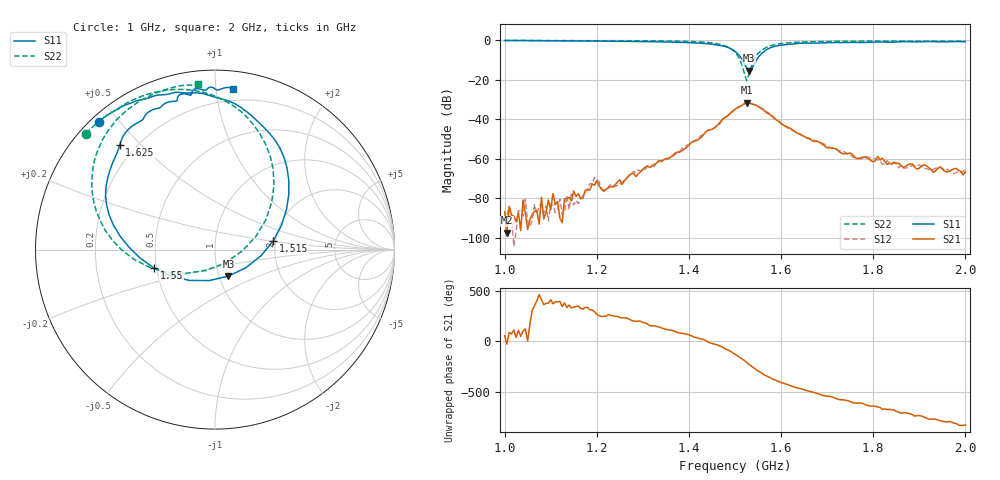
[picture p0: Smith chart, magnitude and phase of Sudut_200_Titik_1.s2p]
# Hz S RI R 50
! CMT, C1220, 16058040, 17.2.0/1
! Date: 14/08/2018 12:56:58
! Data: Format (Calibration Info)
! Freq  S11: Re/Im (F2)  S21: Re/Im (F2)  S12: Re/Im (F2)  S22: Re/Im (F2)
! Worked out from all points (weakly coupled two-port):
!   201 points, 1 GHz to 2 GHz, reference 50 ohm
!   highest |S21| = -31.68 dB at 1.525 GHz (marker M1); lowest = -97.3 dB at 1.005 GHz (marker M2)
!   lowest |S11| = -15.6 dB at 1.53 GHz (marker M3), VSWR 1.40, Z = 55.4 - j16.8 ohm
!   |S11| at or under -10 dB: 1.516 GHz to 1.547 GHz (31.53 MHz wide, 2.06 % of centre)
!   |S22| runs from -20.6 to -0.3 dB; largest |S21 - S12| = 0.001
!   S11 on the Smith chart (normalised r, x): 1 GHz: 0.02, +0.44; 1.515 GHz: 1.94, +0.20; 1.55 GHz: 0.48, -0.11; 1.625 GHz: 0.14, +0.43; 2 GHz: 0.12, +1.11
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1e9  -0.6475 0.7129  2.55e-05 3.85e-05  -2.44e-05 2.41e-06  -0.7191 0.6459
1.005e9  -0.6408 0.7176  1.22e-05 -6.14e-06  1.48e-05 3.37e-05  -0.7153 0.6496
1.14e9  -0.4923 0.8081  0.000106 -3.38e-06  5.19e-05 4.6e-06  -0.607 0.745
1.145e9  -0.4869 0.8098  7.51e-05 -4.29e-05  0.000138 2.84e-06  -0.6022 0.7482
1.15e9  -0.4816 0.8113  0.00014 -6.21e-05  6.13e-05 -3e-05  -0.5973 0.7519
1.17e9  -0.4589 0.8204  7.67e-05 -6.9e-05  0.00011 -3.03e-05  -0.5768 0.7656
1.195e9  -0.4215 0.8337  8.65e-05 -0.000196  0.000125 -0.000314  -0.5477 0.7776
1.2e9  -0.4144 0.8347  -7.13e-06 -0.00028  1.88e-05 -0.000291  -0.543 0.7776
1.215e9  -0.3939 0.8386  -5.67e-05 -0.00014  -5.35e-05 -0.000154  -0.5352 0.7859
1.335e9  -0.1839 0.8739  -0.000713 0.000535  -0.000616 0.000584  -0.36 0.87
1.45e9  0.197 0.7512  0.00517 -0.0019  0.0051 -0.00229  0.0472 0.8333
1.5e9  0.4114 0.309  -0.0103 -0.0144  -0.00968 -0.0136  0.3286 0.3594
1.515e9  0.3237 0.0467  -0.022 -0.00375  -0.0221 -0.00433  0.2272 0.0722
1.525e9  0.1728 -0.1002  -0.0235 0.0112  -0.0238 0.0112  0.0567 -0.0742
1.53e9  0.0749 -0.1478  -0.0179 0.018  -0.018 0.0181  -0.0517 -0.1165
1.55e9  -0.3402 -0.1025  0.00733 0.0195  0.00655 0.0197  -0.4487 -0.0558
1.58e9  -0.6041 0.2482  0.0118 -0.00139  0.0122 -0.00194  -0.6755 0.2648
1.625e9  -0.5307 0.5826  0.000598 -0.00535  0.000729 -0.00507  -0.6495 0.5615
1.67e9  -0.4146 0.7154  -0.00214 -0.00177  -0.00231 -0.00192  -0.5666 0.7009
1.76e9  -0.2496 0.8242  -0.000439 0.00101  -0.000451 0.000961  -0.4204 0.8259
1.835e9  -0.1367 0.86  0.000484 0.000601  0.000557 0.00055  -0.3148 0.8781
2e9  0.0986 0.895  -0.000104 -0.000457  -0.000162 -0.00052  -0.0974 0.9224
